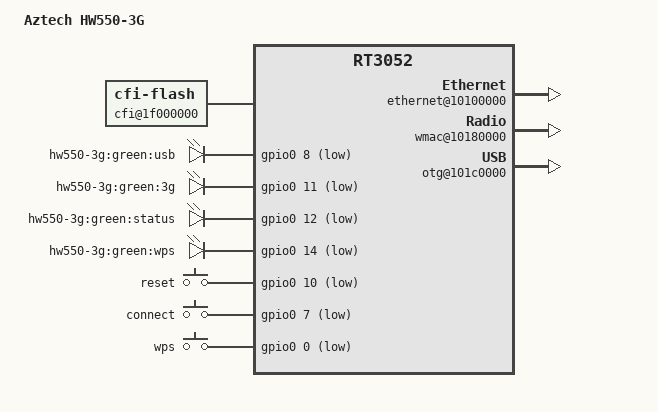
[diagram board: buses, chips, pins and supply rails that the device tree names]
/dts-v1/;

/include/ "rt3050.dtsi"

/ {
	#address-cells = <1>;
	#size-cells = <1>;
	compatible = "HW550-3G", "ralink,rt3052-soc";
	model = "Aztech HW550-3G";

	memorydetect {
		ralink,memory = <0x0 0x200000 0x4000000>;
	};

	chosen {
		bootargs = "console=ttyS0,57600 mtdparts=1f000000.cfi:192k(u-boot)ro,64k(u-boot-env)ro,64k(factory)ro,7872k@0x50000(firmware)";
	};

	palmbus@10000000 {
		sysc@0 {
			ralink,pinmmux = "i2c", "spi", "uartlite", "jtag", "sdram", "rgmii";
			ralink,gpiommux = "mdio";
			ralink,uartmux = "gpio";
			ralink,wdtmux = <1>;
		};

		gpio0: gpio@600 {
			status = "okay";
		};

	};

	cfi@1f000000 {
		compatible = "cfi-flash";
		reg = <0x1f000000 0x800000>;

		bank-width = <2>;
		device-width = <2>;
		#address-cells = <1>;
		#size-cells = <1>;
	};

	ethernet@10100000 {
		status = "okay";
	};

	esw@10110000 {
		status = "okay";
		ralink,portmap = <0x3e>;
	};

	gpio-leds {
		compatible = "gpio-leds";
		usb {
			label = "hw550-3g:green:usb";
			gpios = <&gpio0 8 1>;
		};
		3g {
			label = "hw550-3g:green:3g";
			gpios = <&gpio0 11 1>;
		};
		status {
			label = "hw550-3g:green:status";
			gpios = <&gpio0 12 1>;
		};
		wps {
			label = "hw550-3g:green:wps";
			gpios = <&gpio0 14 1>;
		};
	};

	gpio-keys-polled {
		compatible = "gpio-keys-polled";
		#address-cells = <1>;
		#size-cells = <0>;
		poll-interval = <20>;
		reset {
			label = "reset";
			gpios = <&gpio0 10 1>;
			linux,code = <0x198>;
		};
		connect {
			label = "connect";
			gpios = <&gpio0 7 1>;
			linux,code = <0xda>;
		};
		wps {
			label = "wps";
			gpios = <&gpio0 0 1>;
			linux,code = <0x211>;
		};
	};

	wmac@10180000 {
		status = "okay";
	};

	otg@101c0000 {
		status = "okay";
	};
};
